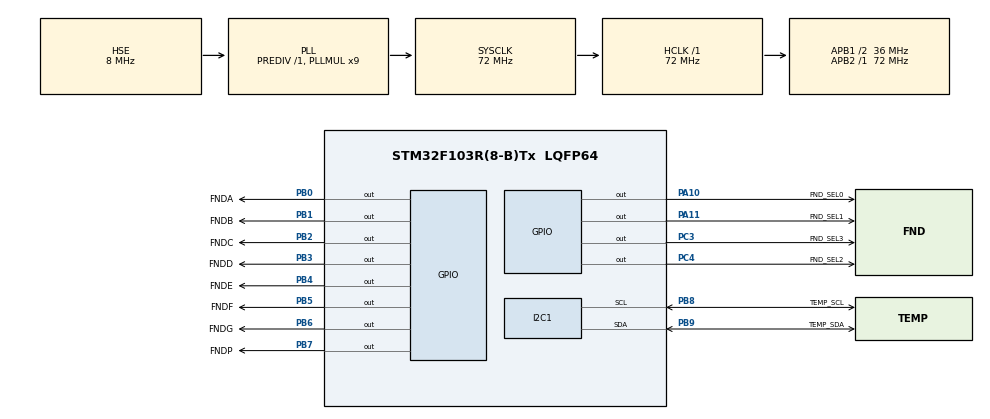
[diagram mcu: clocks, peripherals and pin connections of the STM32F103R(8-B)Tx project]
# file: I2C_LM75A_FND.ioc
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Mcu.Family=STM32F1
Mcu.Name=STM32F103R(8-B)Tx
Mcu.Package=LQFP64
NVIC.PriorityGroup=NVIC_PRIORITYGROUP_4
PA10.GPIO_Label=FND_SEL0
PA10.Signal=GPIO_Output
PA11.GPIO_Label=FND_SEL1
PA11.Signal=GPIO_Output
PA13.Mode=Serial_Wire
PA13.Signal=SYS_JTMS-SWDIO
PA14.Mode=Serial_Wire
PA14.Signal=SYS_JTCK-SWCLK
PB0.GPIO_Label=FNDA
PB0.Signal=GPIO_Output
PB1.GPIO_Label=FNDB
PB1.Signal=GPIO_Output
PB2.GPIO_Label=FNDC
PB2.Signal=GPIO_Output
PB3.GPIO_Label=FNDD
PB3.Signal=GPIO_Output
PB4.GPIO_Label=FNDE
PB4.Signal=GPIO_Output
PB5.GPIO_Label=FNDF
PB5.Signal=GPIO_Output
PB6.GPIO_Label=FNDG
PB6.Signal=GPIO_Output
PB7.GPIO_Label=FNDP
PB7.Signal=GPIO_Output
PB8.GPIO_Label=TEMP_SCL
PB8.Mode=I2C
PB8.Signal=I2C1_SCL
PB9.GPIO_Label=TEMP_SDA
PB9.Mode=I2C
PB9.Signal=I2C1_SDA
PC14-OSC32_IN.Mode=LSE-External-Oscillator
PC14-OSC32_IN.Signal=RCC_OSC32_IN
PC15-OSC32_OUT.Mode=LSE-External-Oscillator
PC15-OSC32_OUT.Signal=RCC_OSC32_OUT
PC3.GPIO_Label=FND_SEL3
PC3.Signal=GPIO_Output
PC4.GPIO_Label=FND_SEL2
PC4.Signal=GPIO_Output
PD0-OSC_IN.Mode=HSE-External-Clock-Source
PD0-OSC_IN.Signal=RCC_OSC_IN
PD1-OSC_OUT.Mode=HSE-External-Clock-Source
PD1-OSC_OUT.Signal=RCC_OSC_OUT
ProjectManager.HeapSize=0x200
ProjectManager.StackSize=0x400
ProjectManager.TargetToolchain=STM32CubeIDE
RCC.AHBFreq_Value=72000000
RCC.APB1CLKDivider=RCC_HCLK_DIV2
RCC.APB1Freq_Value=36000000
RCC.APB1TimFreq_Value=72000000
RCC.APB2Freq_Value=72000000
RCC.APB2TimFreq_Value=72000000
RCC.HCLKFreq_Value=72000000
RCC.PLLMUL=RCC_PLL_MUL9
RCC.PLLSourceVirtual=RCC_PLLSOURCE_HSE
RCC.SYSCLKFreq_VALUE=72000000
RCC.SYSCLKSource=RCC_SYSCLKSOURCE_PLLCLK
RCC.USBFreq_Value=72000000
board=custom

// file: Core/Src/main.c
/* USER CODE BEGIN Header */
/**
  ******************************************************************************
  * @file           : main.c
  * @brief          : Main program body
  ******************************************************************************
  * @attention
  *
  * Copyright (c) 2024 STMicroelectronics.
  * All rights reserved.
  *
  * This software is licensed under terms that can be found in the LICENSE file
  * in the root directory of this software component.
  * If no LICENSE file comes with this software, it is provided AS-IS.
  *
  ******************************************************************************
  */
/* USER CODE END Header */
#include "main.h"

/* USER CODE BEGIN Includes */
#include "jkit_fnd.h"
#include "jkit_i2c.h"
/* USER CODE END Includes */

I2C_HandleTypeDef hi2c1;

void SystemClock_Config(void);
static void MX_GPIO_Init(void);
static void MX_I2C1_Init(void);

int main(void)
{

  /* USER CODE BEGIN 1 */
	int temp_value = 0;
	int temp_value_prev = 0;
	int temp_err = 0;
  /* USER CODE END 1 */

  /* MCU Configuration--------------------------------------------------------*/

  /* Reset of all peripherals, Initializes the Flash interface and the Systick. */
  HAL_Init();

  /* Configure the system clock */
  SystemClock_Config();

  /* Initialize all configured peripherals */
  MX_GPIO_Init();
  MX_I2C1_Init();
  /* USER CODE BEGIN 2 */
  JKIT_I2C_Initialize();
  /* USER CODE END 2 */

  /* Infinite loop */
  /* USER CODE BEGIN WHILE */
  JKIT_FND_number(0, 0);
  while (1)
  {
	  JKIT_FND_process();

	  if(!temp_err)
	  {
		  temp_err = JKIT_I2C_Process();

		  if(temp_err)
		  {
			  JKIT_FND_error(temp_err);
		  }
		  else
		  {
			  temp_value = JKIT_I2C_GetValue();
			  if(temp_value_prev != temp_value)
			  {
				  temp_value_prev = temp_value;
				  if(temp_value_prev < 0)
				  {
					  JKIT_FND_number(-temp_value_prev, 1);
				  }
				  else
				  {
					  JKIT_FND_number(temp_value_prev, 0);
				  }
			  }
		  }
	  }
    /* USER CODE END WHILE */

  }
}

void SystemClock_Config(void)
{
  RCC_OscInitTypeDef RCC_OscInitStruct = {0};
  RCC_ClkInitTypeDef RCC_ClkInitStruct = {0};

  /** Initializes the RCC Oscillators according to the specified parameters
  * in the RCC_OscInitTypeDef structure.
  */
  RCC_OscInitStruct.OscillatorType = RCC_OSCILLATORTYPE_HSE;
  RCC_OscInitStruct.HSEState = RCC_HSE_BYPASS;
  RCC_OscInitStruct.HSEPredivValue = RCC_HSE_PREDIV_DIV1;
  RCC_OscInitStruct.HSIState = RCC_HSI_ON;
  RCC_OscInitStruct.PLL.PLLState = RCC_PLL_ON;
  RCC_OscInitStruct.PLL.PLLSource = RCC_PLLSOURCE_HSE;
  RCC_OscInitStruct.PLL.PLLMUL = RCC_PLL_MUL9;
  if (HAL_RCC_OscConfig(&RCC_OscInitStruct) != HAL_OK)
  {
    Error_Handler();
  }

  /** Initializes the CPU, AHB and APB buses clocks
  */
  RCC_ClkInitStruct.ClockType = RCC_CLOCKTYPE_HCLK|RCC_CLOCKTYPE_SYSCLK
                              |RCC_CLOCKTYPE_PCLK1|RCC_CLOCKTYPE_PCLK2;
  RCC_ClkInitStruct.SYSCLKSource = RCC_SYSCLKSOURCE_PLLCLK;
  RCC_ClkInitStruct.AHBCLKDivider = RCC_SYSCLK_DIV1;
  RCC_ClkInitStruct.APB1CLKDivider = RCC_HCLK_DIV2;
  RCC_ClkInitStruct.APB2CLKDivider = RCC_HCLK_DIV1;

  if (HAL_RCC_ClockConfig(&RCC_ClkInitStruct, FLASH_LATENCY_2) != HAL_OK)
  {
    Error_Handler();
  }
}

static void MX_I2C1_Init(void)
{

  hi2c1.Instance = I2C1;
  hi2c1.Init.ClockSpeed = 100000;
  hi2c1.Init.DutyCycle = I2C_DUTYCYCLE_2;
  hi2c1.Init.OwnAddress1 = 0;
  hi2c1.Init.AddressingMode = I2C_ADDRESSINGMODE_7BIT;
  hi2c1.Init.DualAddressMode = I2C_DUALADDRESS_DISABLE;
  hi2c1.Init.OwnAddress2 = 0;
  hi2c1.Init.GeneralCallMode = I2C_GENERALCALL_DISABLE;
  hi2c1.Init.NoStretchMode = I2C_NOSTRETCH_DISABLE;
  if (HAL_I2C_Init(&hi2c1) != HAL_OK)
  {
    Error_Handler();
  }

}

static void MX_GPIO_Init(void)
{
  GPIO_InitTypeDef GPIO_InitStruct = {0};

  /* GPIO Ports Clock Enable */
  __HAL_RCC_GPIOC_CLK_ENABLE();
  __HAL_RCC_GPIOD_CLK_ENABLE();
  __HAL_RCC_GPIOB_CLK_ENABLE();
  __HAL_RCC_GPIOA_CLK_ENABLE();

  /*Configure GPIO pin Output Level */
  HAL_GPIO_WritePin(GPIOC, FND_SEL3_Pin|FND_SEL2_Pin, GPIO_PIN_RESET);

  /*Configure GPIO pin Output Level */
  HAL_GPIO_WritePin(GPIOB, FNDA_Pin|FNDB_Pin|FNDC_Pin|FNDD_Pin
                          |FNDE_Pin|FNDF_Pin|FNDG_Pin|FNDP_Pin, GPIO_PIN_RESET);

  /*Configure GPIO pin Output Level */
  HAL_GPIO_WritePin(GPIOA, FND_SEL0_Pin|FND_SEL1_Pin, GPIO_PIN_RESET);

  /*Configure GPIO pins : FND_SEL3_Pin FND_SEL2_Pin */
  GPIO_InitStruct.Pin = FND_SEL3_Pin|FND_SEL2_Pin;
  GPIO_InitStruct.Mode = GPIO_MODE_OUTPUT_PP;
  GPIO_InitStruct.Pull = GPIO_NOPULL;
  GPIO_InitStruct.Speed = GPIO_SPEED_FREQ_LOW;
  HAL_GPIO_Init(GPIOC, &GPIO_InitStruct);

  /*Configure GPIO pins : FNDA_Pin FNDB_Pin FNDC_Pin FNDD_Pin
                           FNDE_Pin FNDF_Pin FNDG_Pin FNDP_Pin */
  GPIO_InitStruct.Pin = FNDA_Pin|FNDB_Pin|FNDC_Pin|FNDD_Pin
                          |FNDE_Pin|FNDF_Pin|FNDG_Pin|FNDP_Pin;
  GPIO_InitStruct.Mode = GPIO_MODE_OUTPUT_PP;
  GPIO_InitStruct.Pull = GPIO_NOPULL;
  GPIO_InitStruct.Speed = GPIO_SPEED_FREQ_LOW;
  HAL_GPIO_Init(GPIOB, &GPIO_InitStruct);

  /*Configure GPIO pins : FND_SEL0_Pin FND_SEL1_Pin */
  GPIO_InitStruct.Pin = FND_SEL0_Pin|FND_SEL1_Pin;
  GPIO_InitStruct.Mode = GPIO_MODE_OUTPUT_PP;
  GPIO_InitStruct.Pull = GPIO_NOPULL;
  GPIO_InitStruct.Speed = GPIO_SPEED_FREQ_LOW;
  HAL_GPIO_Init(GPIOA, &GPIO_InitStruct);

}

void Error_Handler(void)
{
  __disable_irq();
  while (1)
  {
  }
}
